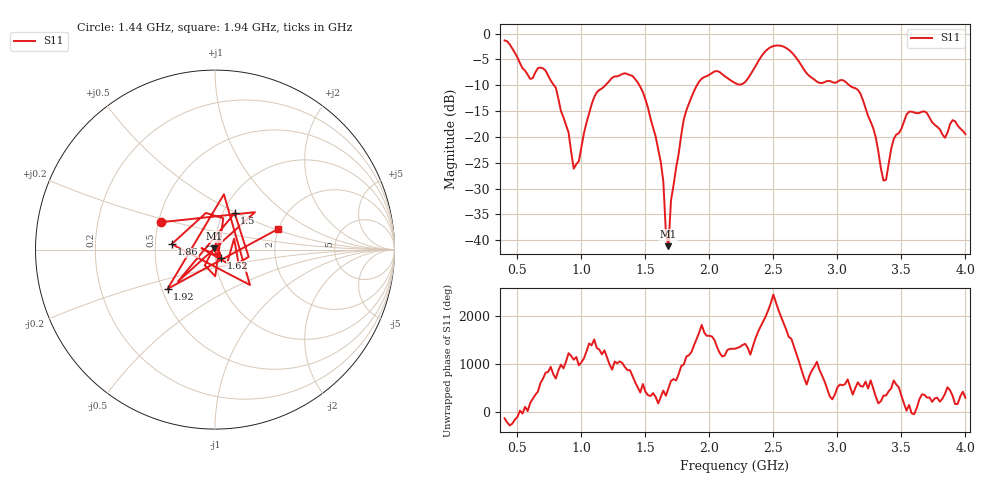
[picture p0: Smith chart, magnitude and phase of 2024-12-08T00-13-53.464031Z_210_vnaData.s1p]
!Created with skrf (http://scikit-rf.org).
# Hz S RI R 50.0
!freq ReS11 ImS11
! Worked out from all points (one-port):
!   181 points, 400 MHz to 4 GHz, reference 50 ohm
!   lowest |S11| = -41.1 dB at 1.68 GHz (marker M1), VSWR 1.02, Z = 49.5 + j0.677 ohm
!   |S11| at or under -10 dB: 785.3 MHz to 1.188 GHz (402.4 MHz wide, 40.8 % of centre); 1.453 GHz to 1.903 GHz (450 MHz wide, 26.8 % of centre); 3.093 GHz to end of sweep
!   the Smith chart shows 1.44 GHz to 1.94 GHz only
!   S11 on the Smith chart (normalised r, x): 1.44 GHz: 0.52, +0.18; 1.5 GHz: 1.13, +0.49; 1.62 GHz: 1.07, -0.10; 1.86 GHz: 0.61, +0.04; 1.92 GHz: 0.54, -0.27; 1.94 GHz: 1.98, +0.52
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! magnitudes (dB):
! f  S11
! 400 MHz  -1.3
! 600 MHz  -8.8
! 720 MHz  -7.2
! 860 MHz  -16.2
! 940 MHz  -26.1
! 1.1 GHz  -12.3
! 1.3 GHz  -8.1
! 1.44 GHz  -9.4
! 1.5 GHz  -12.7
! 1.62 GHz  -24.8
! 1.64 GHz  -28.6
! 1.66 GHz  -38.5
! 1.68 GHz  -41.1
! 1.7 GHz  -32.3
! 1.76 GHz  -23.2
! 1.86 GHz  -12.3
! 1.92 GHz  -9.3
! 1.94 GHz  -8.7
! 2.2 GHz  -9.6
! 2.48 GHz  -2.6
! 2.66 GHz  -4.1
! 2.84 GHz  -9.3
! 3.1 GHz  -10.1
! 3.28 GHz  -18.3
! 3.36 GHz  -28.4
! 3.44 GHz  -20.4
! 3.56 GHz  -15.1
! 4 GHz  -19.5
